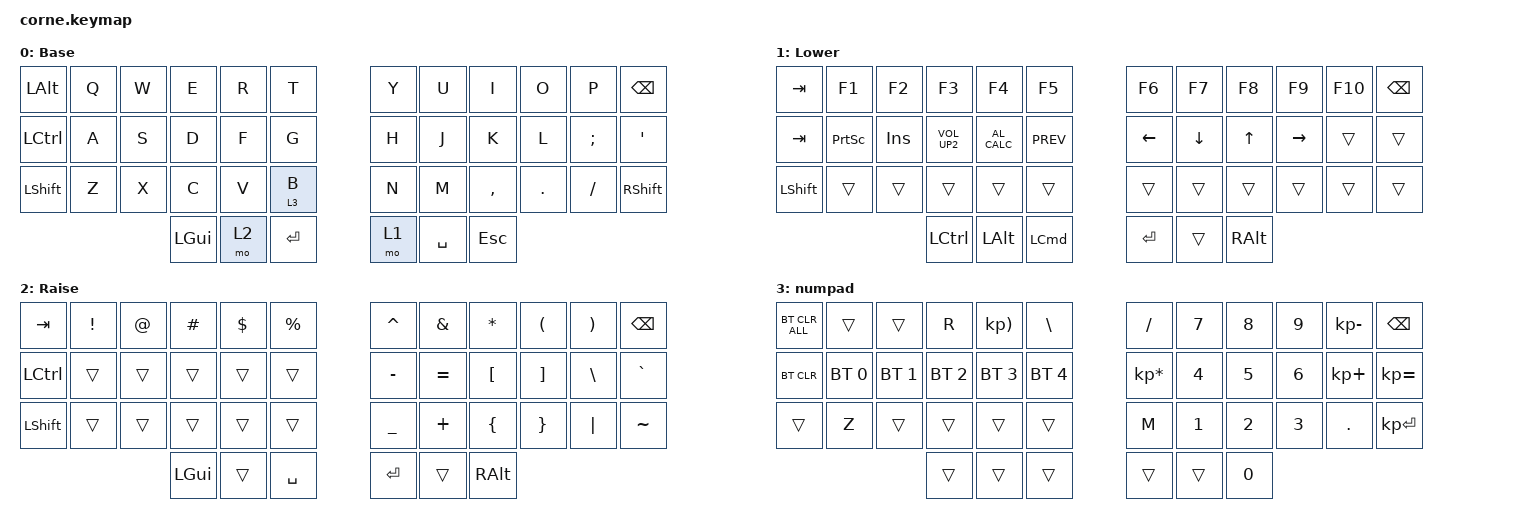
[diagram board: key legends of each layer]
/*
 * Copyright (c) 2020 The ZMK Contributors
 *
 * SPDX-License-Identifier: MIT
 */

#include <behaviors.dtsi>
#include <dt-bindings/zmk/bt.h>
#include <dt-bindings/zmk/keys.h>

/ {
    combos {
        compatible = "zmk,combos";

        combo_capslock {
            bindings = <&kp CAPSLOCK>;
            key-positions = <1 2>;
            timeout-ms = <50>;
        };
    };

    keymap {
        compatible = "zmk,keymap";

        default_layer {
            // -----------------------------------------------------------------------------------------
            // |  TAB |  Q  |  W  |  E  |  R  |  T  |   |  Y  |  U   |  I  |  O  |  P  | BKSP |
            // | CTRL |  A  |  S  |  D  |  F  |  G  |   |  H  |  J   |  K  |  L  |  ;  |  '   |
            // | SHFT |  Z  |  X  |  C  |  V  |  B  |   |  N  |  M   |  ,  |  .  |  /  | ESC  |
            //                    | GUI | RSE | ENT |   | LWR | SPC  | ALT |

            display-name = "Base";
            bindings = <
&kp LEFT_ALT  &kp Q  &kp W  &kp E     &kp R  &kp T      &kp Y  &kp U      &kp I       &kp O    &kp P     &kp BSPC
&kp LCTRL     &kp A  &kp S  &kp D     &kp F  &kp G      &kp H  &kp J      &kp K       &kp L    &kp SEMI  &kp SQT
&kp LSHFT     &kp Z  &kp X  &kp C     &kp V  &lt 3 B    &kp N  &kp M      &kp COMMA   &kp DOT  &kp FSLH  &kp RSHFT
                            &kp LGUI  &mo 2  &kp RET    &mo 1  &kp SPACE  &kp ESCAPE
            >;
        };

        lower_layer {
            // -----------------------------------------------------------------------------------------
            // |  TAB |  1  |  2  |  3  |  4  |  5  |   |  6  |  7  |  8  |  9  |  0  | BKSP |
            // | BTCLR| BT1 | BT2 | BT3 | BT4 | BT5 |   | LFT | DWN |  UP | RGT |     |      |
            // | SHFT |     |     |     |     |     |   |     |     |     |     |     |      |
            //                    | GUI |     | SPC |   | ENT |     | ALT |

            display-name = "Lower";
            bindings = <
&kp TAB    &kp F1           &kp F2   &kp F3            &kp F4         &kp F5        &kp F6    &kp F7    &kp F8    &kp F9     &kp F10  &kp BSPC
&kp TAB    &kp PRINTSCREEN  &kp INS  &kp K_VOLUME_UP2  &kp C_AL_CALC  &kp K_PREV    &kp LEFT  &kp DOWN  &kp UP    &kp RIGHT  &trans   &trans
&kp LSHFT  &trans           &trans   &trans            &trans         &trans        &trans    &trans    &trans    &trans     &trans   &trans
                                     &kp LCTRL         &kp LALT       &kp LCMD      &kp RET   &trans    &kp RALT
            >;
        };

        raise_layer {
            // -----------------------------------------------------------------------------------------
            // |  TAB |  !  |  @  |  #  |  $  |  %  |   |  ^  |  &  |  *  |  (  |  )  | BKSP |
            // | CTRL |     |     |     |     |     |   |  -  |  =  |  [  |  ]  |  \  |  `   |
            // | SHFT |     |     |     |     |     |   |  _  |  +  |  {  |  }  | "|" |  ~   |
            //                    | GUI |     | SPC |   | ENT |     | ALT |

            display-name = "Raise";
            bindings = <
&kp TAB    &kp EXCL  &kp AT  &kp HASH  &kp DLLR  &kp PRCNT    &kp CARET  &kp AMPS   &kp ASTRK  &kp LPAR  &kp RPAR  &kp BSPC
&kp LCTRL  &trans    &trans  &trans    &trans    &trans       &kp MINUS  &kp EQUAL  &kp LBKT   &kp RBKT  &kp BSLH  &kp GRAVE
&kp LSHFT  &trans    &trans  &trans    &trans    &trans       &kp UNDER  &kp PLUS   &kp LBRC   &kp RBRC  &kp PIPE  &kp TILDE
                             &kp LGUI  &trans    &kp SPACE    &kp RET    &trans     &kp RALT
            >;
        };

        numpad {
            bindings = <
&bt BT_CLR_ALL  &trans        &trans        &kp R         &kp KP_RIGHT_PARENTHESIS  &kp BSLH        &kp FSLH         &kp NUMBER_7  &kp NUMBER_8  &kp NUMBER_9  &kp KP_SUBTRACT  &kp BACKSPACE
&bt BT_CLR      &bt BT_SEL 0  &bt BT_SEL 1  &bt BT_SEL 2  &bt BT_SEL 3              &bt BT_SEL 4    &kp KP_MULTIPLY  &kp NUMBER_4  &kp NUMBER_5  &kp NUMBER_6  &kp KP_PLUS      &kp KP_EQUAL
&trans          &kp Z         &trans        &trans        &trans                    &trans          &kp M            &kp NUMBER_1  &kp NUMBER_2  &kp NUMBER_3  &kp PERIOD       &kp KP_ENTER
                                            &trans        &trans                    &trans          &trans           &trans        &kp NUMBER_0
            >;
        };
    };
};
